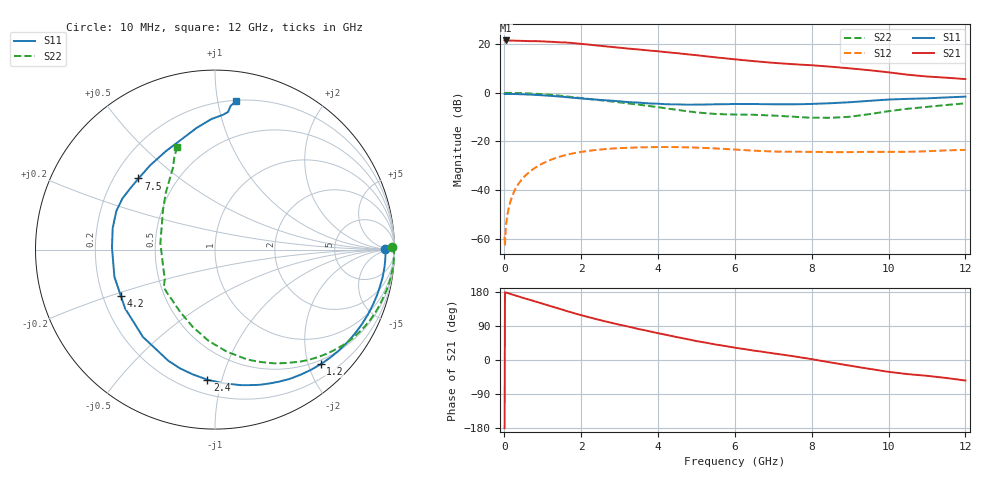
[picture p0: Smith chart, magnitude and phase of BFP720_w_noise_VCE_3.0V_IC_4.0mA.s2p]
! Infineon Technologies  Discrete & RF Semiconductors
! BFP720
! VCE =  3.0 V,  IC =  4.0 mA
! Common Emitter S-Parameters:  Aug 2012
# GHz  S  MA  R  50
!  f  S11  S21  S12  S22
! GHz  MAG  ANG  MAG  ANG  MAG  ANG  MAG  ANG
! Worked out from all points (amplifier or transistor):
!   105 points, 10 MHz to 12 GHz, reference 50 ohm
!   highest |S21| = 21.6 dB at 50 MHz (marker M1)
!   |S21| within 3 dB of that: start of sweep to 3.011 GHz
!   unconditionally stable (mu >= 1): 6.775 GHz to 11.54 GHz
!   at 300 MHz: K = 0.04, MSG = 30.4 dB, |S12| = -39.3 dB
!   at 3.6 GHz: K = 0.43, MSG = 20.0 dB, |S12| = -22.4 dB
!   at 12 GHz: K = 0.82, MSG = 14.6 dB, |S12| = -23.5 dB
!   lowest NFmin = 0.37 dB at 450 MHz
!   S11 on the Smith chart (normalised r, x): 10 MHz: 38, +1; 1.2 GHz: 0.42, -2.21; 2.4 GHz: 0.29, -0.90; 4.2 GHz: 0.28, -0.22; 7.5 GHz: 0.30, +0.36; 12 GHz: 0.21, +1.13
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0.01  0.9489 0.1  11.94 -180.0  0.0011 -16.5  0.9882 0.7
0.02  0.9508 -0.7  11.84 178.7  0.0007 86.7  0.998 -0.5
0.05  0.95 -1.8  11.97 177.8  0.002 93.2  0.9968 -1.3
0.14  0.9494 -5.4  11.94 175.1  0.0051 85.8  0.9973 -3.8
0.3  0.9429 -11.5  11.82 169.9  0.0109 82.3  0.9919 -8.1
0.8  0.9087 -31.2  11.62 154.7  0.0286 70.1  0.9589 -21.8
1.2  0.8685 -47.4  11.25 142.4  0.0416 59.8  0.9117 -32.8
1.6  0.8183 -64.0  10.88 130.0  0.0525 49.7  0.8489 -43.3
1.9  0.7792 -75.7  10.37 121.1  0.059 42.6  0.7984 -50.7
2.1  0.7554 -82.9  10 115.7  0.0625 38.2  0.7647 -55.2
2.4  0.7262 -93.3  9.462 107.7  0.0669 32.0  0.7195 -61.8
3  0.6716 -112.8  8.493 93.1  0.073 21.4  0.6375 -73.7
3.5  0.6309 -129.5  7.814 81.6  0.0756 13.6  0.5721 -83.5
4.1  0.5905 -150.3  7.034 68.7  0.0767 5.3  0.4951 -96.3
4.2  0.5845 -153.9  6.902 66.7  0.0766 4.1  0.4819 -98.6
5  0.5742 178.9  5.96 49.9  0.0747 -5.5  0.3973 -119.3
6.1  0.5892 157.2  4.813 31.0  0.0675 -13.8  0.3573 -140.2
7.5  0.582 137.1  3.901 10.3  0.0613 -15.4  0.3242 -149.6
8.5  0.6119 116.9  3.453 -6.6  0.0602 -16.8  0.3065 173.2
9.5  0.6851 98.7  2.923 -23.3  0.0612 -17.1  0.3643 142.7
10.5  0.7524 86.6  2.362 -37.3  0.0612 -18.0  0.4707 122.2
12  0.8361 81.9  1.921 -54.2  0.0671 -20.8  0.6081 110.3
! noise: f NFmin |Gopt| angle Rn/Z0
0.45  0.37  0.56  4  0.21
1.8  0.49  0.52  27  0.15
2.4  0.52  0.39  66  0.2
5.5  0.72  0.26  73  0.11
10  1.02  0.41  -96  0.21
